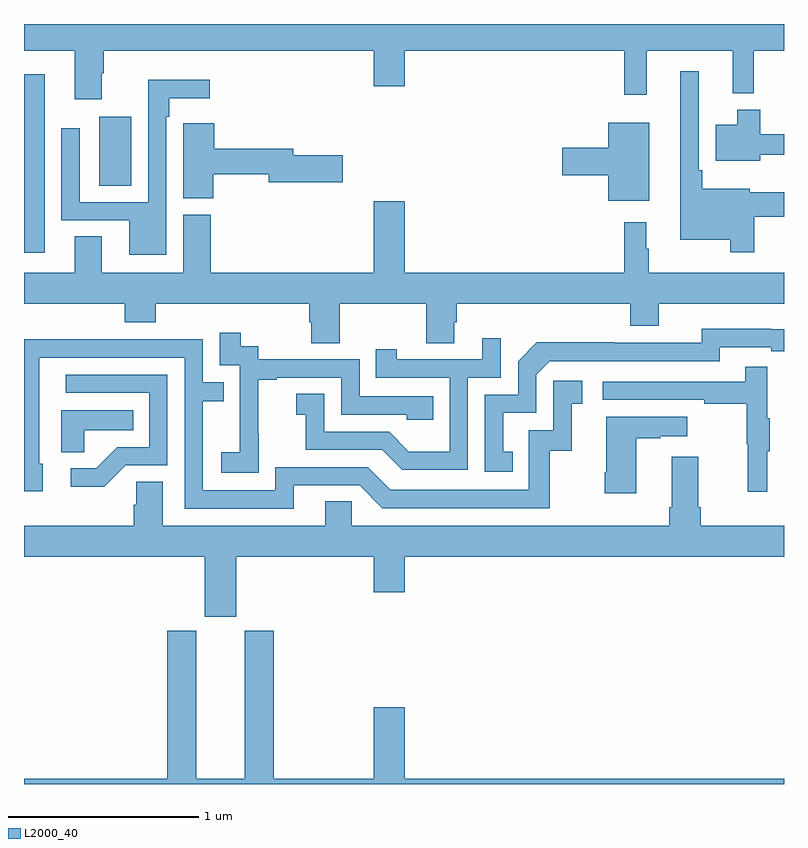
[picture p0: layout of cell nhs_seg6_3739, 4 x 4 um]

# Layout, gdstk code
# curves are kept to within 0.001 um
import gdstk
lib = gdstk.Library(unit=1e-6, precision=1e-09)
def R(c, l, rs):  # rectangles x0, y0, x1, y1
    for r in rs: c.add(gdstk.rectangle(r[:2], r[2:], *l))
def P(c, l, *ps):  # polygons
    for p in ps: c.add(gdstk.Polygon(p, *l))
L2000_40 = (2000, 40)

nhs_seg6_3739 = lib.new_cell('nhs_seg6_3739')
R(nhs_seg6_3739, L2000_40, [(331,922.296,331.108,923.236), (331.397,922.648,331.564,923.011)])
P(nhs_seg6_3739, L2000_40, [(331,923.36),(331.268,923.36),(331.268,923.103),(331.408,923.103),(331.408,923.24),(331.421,923.24),(331.421,923.36),(332.84,923.36),(332.84,923.172),(333.004,923.172),(333.004,923.36),(334.159,923.36),(334.159,923.127),(334.277,923.127),(334.277,923.36),(334.73,923.36),(334.73,923.135),(334.84,923.135),(334.84,923.36),(335,923.36),(335,923.5),(331,923.5)],
  [(334.844,922.486),(335,922.486),(335,922.615),(334.821,922.615),(334.821,922.633),(334.571,922.633),(334.571,922.729),(334.551,922.729),(334.551,923.251),(334.454,923.251),(334.454,922.364),(334.716,922.364),(334.716,922.299),(334.844,922.299)],
  [(331.749,923.012),(331.765,923.012),(331.765,923.108),(331.978,923.108),(331.978,923.206),(331.653,923.206),(331.653,922.563),(331.293,922.563),(331.293,922.951),(331.197,922.951),(331.197,922.467),(331.553,922.467),(331.553,922.286),(331.749,922.286)],
  [(334.876,922.811),(335,922.811),(335,922.921),(334.876,922.921),(334.876,923.05),(334.754,923.05),(334.754,922.969),(334.64,922.969),(334.64,922.781),(334.876,922.781)],
  [(334.291,922.981),(334.076,922.981),(334.076,922.85),(333.834,922.85),(333.834,922.703),(334.076,922.703),(334.076,922.571),(334.291,922.571)],
  [(331.995,922.708),(332.288,922.708),(332.288,922.666),(332.677,922.666),(332.677,922.808),(332.416,922.808),(332.416,922.844),(332,922.844),(332,922.978),(331.839,922.978),(331.839,922.865),(331.838,922.865),(331.838,922.582),(331.995,922.582)],
  [(332.661,922.028),(333.118,922.028),(333.118,921.82),(333.265,921.82),(333.265,921.93),(333.278,921.93),(333.278,922.028),(334.19,922.028),(334.19,921.911),(334.342,921.911),(334.342,922.028),(335,922.028),(335,922.192),(334.288,922.192),(334.288,922.316),(334.276,922.316),(334.276,922.456),(334.159,922.456),(334.159,922.192),(333.004,922.192),(333.004,922.567),(332.84,922.567),(332.84,922.192),(331.982,922.192),(331.982,922.497),(331.838,922.497),(331.838,922.192),(331.408,922.192),(331.408,922.382),(331.268,922.382),(331.268,922.192),(331,922.192),(331,922.028),(331.529,922.028),(331.529,921.929),(331.694,921.929),(331.694,922.028),(332.501,922.028),(332.501,921.93),(332.513,921.93),(332.513,921.82),(332.661,921.82)],
  [(333.572,921.249),(333.523,921.249),(333.523,921.453),(333.696,921.453),(333.696,921.654),(333.768,921.726),(334.662,921.726),(334.662,921.798),(334.934,921.798),(334.934,921.778),(335,921.778),(335,921.894),(334.566,921.895),(334.566,921.822),(334.106,921.822),(334.106,921.824),(333.698,921.824),(333.6,921.726),(333.6,921.549),(333.426,921.549),(333.426,921.144),(333.572,921.144)],
  [(332.235,921.343),(332.234,921.343),(332.234,921.627),(332.329,921.627),(332.329,921.639),(332.67,921.639),(332.67,921.444),(333.015,921.444),(333.015,921.417),(333.155,921.417),(333.155,921.54),(332.766,921.54),(332.766,921.735),(332.232,921.735),(332.232,921.804),(332.14,921.804),(332.14,921.874),(332.031,921.874),(332.031,921.705),(332.136,921.705),(332.136,921.476),(332.135,921.476),(332.135,921.247),(332.037,921.247),(332.037,921.137),(332.235,921.137)],
  [(333.336,921.639),(333.51,921.639),(333.51,921.847),(333.413,921.847),(333.413,921.735),(332.962,921.735),(332.962,921.787),(332.851,921.787),(332.851,921.639),(333.24,921.639),(333.24,921.25),(333.026,921.25),(332.922,921.354),(332.58,921.354),(332.58,921.553),(332.433,921.553),(332.433,921.443),(332.482,921.443),(332.482,921.258),(332.885,921.258),(332.99,921.153),(333.336,921.153)],
  [(332.419,921.072),(332.766,921.072),(332.886,920.952),(333.766,920.952),(333.766,921.255),(333.884,921.255),(333.884,921.501),(333.937,921.501),(333.937,921.622),(333.786,921.622),(333.786,921.363),(333.657,921.363),(333.657,921.048),(332.928,921.048),(332.808,921.168),(332.322,921.168),(332.322,921.045),(331.941,921.045),(331.941,921.514),(332.051,921.514),(332.051,921.615),(331.941,921.615),(331.941,921.84),(331.445,921.84),(331.445,921.842),(331,921.842),(331,921.042),(331.099,921.042),(331.099,921.186),(331.08,921.186),(331.08,921.744),(331.845,921.744),(331.845,920.949),(332.419,920.949)],
  [(334.913,921.251),(334.924,921.251),(334.924,921.425),(334.913,921.425),(334.913,921.697),(334.795,921.697),(334.795,921.618),(334.047,921.618),(334.047,921.522),(334.579,921.522),(334.579,921.502),(334.803,921.502),(334.803,921.288),(334.81,921.288),(334.81,921.039),(334.913,921.039)],
  [(331.536,921.177),(331.755,921.177),(331.755,921.654),(331.221,921.654),(331.221,921.558),(331.659,921.558),(331.659,921.273),(331.49,921.273),(331.379,921.162),(331.245,921.162),(331.245,921.065),(331.423,921.065)],
  [(331.317,921.362),(331.574,921.362),(331.574,921.466),(331.196,921.466),(331.196,921.247),(331.317,921.247)],
  [(334.222,921.319),(334.349,921.319),(334.349,921.329),(334.492,921.329),(334.492,921.433),(334.064,921.433),(334.064,921.142),(334.057,921.142),(334.057,921.03),(334.222,921.03)],
  [(332.116,920.696),(332.84,920.696),(332.84,920.508),(333.004,920.508),(333.004,920.696),(335,920.696),(335,920.86),(334.562,920.86),(334.562,920.956),(334.549,920.956),(334.549,921.223),(334.409,921.223),(334.409,920.956),(334.397,920.956),(334.397,920.86),(332.724,920.86),(332.724,920.987),(332.585,920.987),(332.585,920.86),(331.729,920.86),(331.729,921.092),(331.59,921.092),(331.59,920.969),(331.577,920.969),(331.577,920.86),(331,920.86),(331,920.696),(331.952,920.696),(331.952,920.379),(332.116,920.379)],
  [(335,919.528),(333.004,919.528),(333.004,919.903),(332.84,919.903),(332.84,919.528),(332.315,919.528),(332.315,920.307),(332.162,920.307),(332.162,919.528),(331.906,919.528),(331.906,920.307),(331.754,920.307),(331.754,919.528),(331,919.528),(331,919.5),(335,919.5)])

lib.write_gds('nhs_seg6_3739.gds')
